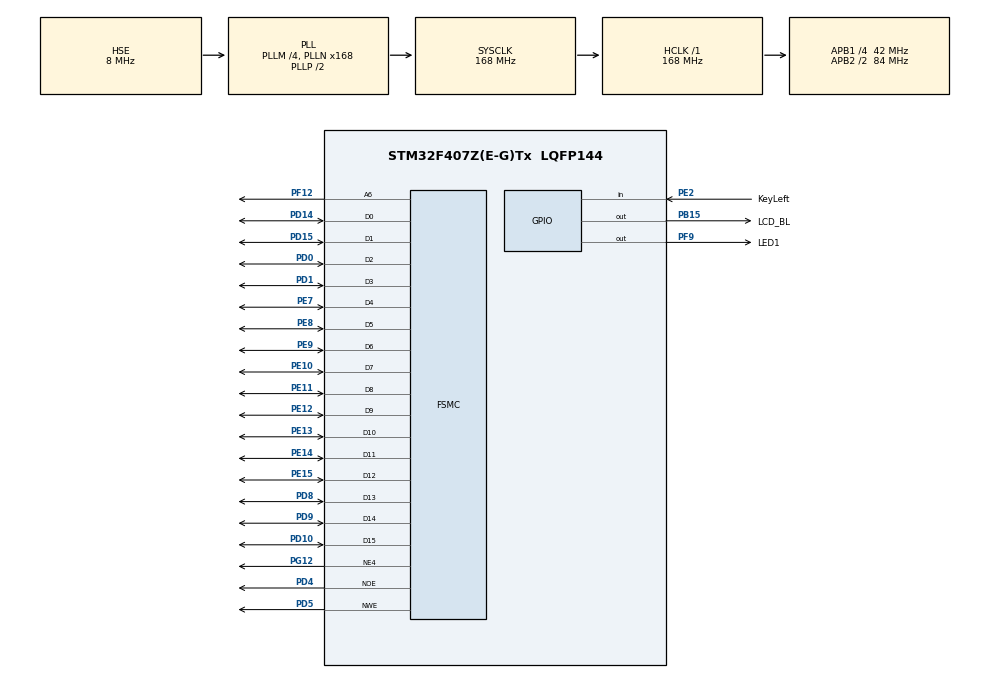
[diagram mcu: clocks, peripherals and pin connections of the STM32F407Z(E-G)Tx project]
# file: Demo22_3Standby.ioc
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FSMC.AddressSetupTime4=2
FSMC.BusTurnAroundDuration4=0
FSMC.DataSetupTime4=16
FSMC.ExtendedAddressSetupTime4=4
FSMC.ExtendedBusTurnAroundDuration4=0
FSMC.ExtendedDataSetupTime4=9
FSMC.ExtendedMode4=FSMC_EXTENDED_MODE_ENABLE
Mcu.Family=STM32F4
Mcu.Name=STM32F407Z(E-G)Tx
Mcu.Package=LQFP144
NVIC.PriorityGroup=NVIC_PRIORITYGROUP_4
PA0-WKUP.Mode=SYS_WakeUp0
PA0-WKUP.Signal=SYS_WKUP
PA13.Mode=Serial_Wire
PA13.Signal=SYS_JTMS-SWDIO
PA14.Mode=Serial_Wire
PA14.Signal=SYS_JTCK-SWCLK
PB15.GPIO_Label=LCD_BL
PB15.PinState=GPIO_PIN_RESET
PB15.Signal=GPIO_Output
PD0.Signal=FSMC_D2_DA2
PD1.Signal=FSMC_D3_DA3
PD10.Signal=FSMC_D15_DA15
PD14.Signal=FSMC_D0_DA0
PD15.Signal=FSMC_D1_DA1
PD4.Signal=FSMC_NOE
PD5.Signal=FSMC_NWE
PD8.Signal=FSMC_D13_DA13
PD9.Signal=FSMC_D14_DA14
PE10.Signal=FSMC_D7_DA7
PE11.Signal=FSMC_D8_DA8
PE12.Signal=FSMC_D9_DA9
PE13.Signal=FSMC_D10_DA10
PE14.Signal=FSMC_D11_DA11
PE15.Signal=FSMC_D12_DA12
PE2.GPIO_Label=KeyLeft
PE2.GPIO_PuPd=GPIO_PULLUP
PE2.Signal=GPIO_Input
PE7.Signal=FSMC_D4_DA4
PE8.Signal=FSMC_D5_DA5
PE9.Signal=FSMC_D6_DA6
PF12.Signal=FSMC_A6
PF9.GPIO_Label=LED1
PF9.PinState=GPIO_PIN_SET
PF9.Signal=GPIO_Output
PG12.Mode=NorPsramChipSelect4_4
PG12.Signal=FSMC_NE4
PH0-OSC_IN.Mode=HSE-External-Oscillator
PH0-OSC_IN.Signal=RCC_OSC_IN
PH1-OSC_OUT.Mode=HSE-External-Oscillator
PH1-OSC_OUT.Signal=RCC_OSC_OUT
ProjectManager.HeapSize=0x200
ProjectManager.StackSize=0x400
ProjectManager.TargetToolchain=STM32CubeIDE
RCC.48MHZClocksFreq_Value=84000000
RCC.AHBFreq_Value=168000000
RCC.APB1CLKDivider=RCC_HCLK_DIV4
RCC.APB1Freq_Value=42000000
RCC.APB1TimFreq_Value=84000000
RCC.APB2CLKDivider=RCC_HCLK_DIV2
RCC.APB2Freq_Value=84000000
RCC.APB2TimFreq_Value=168000000
RCC.CortexFreq_Value=168000000
RCC.FLatency=FLASH_LATENCY_5
RCC.HCLKFreq_Value=168000000
RCC.HSE_VALUE=8000000
RCC.HSI_VALUE=16000000
RCC.LSE_VALUE=32768
RCC.PLLM=4
RCC.PLLN=168
RCC.PLLSourceVirtual=RCC_PLLSOURCE_HSE
RCC.SYSCLKFreq_VALUE=168000000
RCC.SYSCLKSource=RCC_SYSCLKSOURCE_PLLCLK
RCC.VCOOutputFreq_Value=336000000
SH.FSMC_A6.0=FSMC_A6,A6_4
SH.FSMC_D0_DA0.0=FSMC_D0,16b-d4
SH.FSMC_D10_DA10.0=FSMC_D10,16b-d4
SH.FSMC_D11_DA11.0=FSMC_D11,16b-d4
SH.FSMC_D12_DA12.0=FSMC_D12,16b-d4
SH.FSMC_D13_DA13.0=FSMC_D13,16b-d4
SH.FSMC_D14_DA14.0=FSMC_D14,16b-d4
SH.FSMC_D15_DA15.0=FSMC_D15,16b-d4
SH.FSMC_D1_DA1.0=FSMC_D1,16b-d4
SH.FSMC_D2_DA2.0=FSMC_D2,16b-d4
SH.FSMC_D3_DA3.0=FSMC_D3,16b-d4
SH.FSMC_D4_DA4.0=FSMC_D4,16b-d4
SH.FSMC_D5_DA5.0=FSMC_D5,16b-d4
SH.FSMC_D6_DA6.0=FSMC_D6,16b-d4
SH.FSMC_D7_DA7.0=FSMC_D7,16b-d4
SH.FSMC_D8_DA8.0=FSMC_D8,16b-d4
SH.FSMC_D9_DA9.0=FSMC_D9,16b-d4
SH.FSMC_NOE.0=FSMC_NOE,Lcd4
SH.FSMC_NWE.0=FSMC_NWE,Lcd4
board=custom

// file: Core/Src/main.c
/* USER CODE BEGIN Header */
/**
  ******************************************************************************
  * @file           : main.c
  * @brief          : Main program body
  ******************************************************************************
  * @attention
  *
  * Copyright (c) 2023 STMicroelectronics.
  * All rights reserved.
  *
  * This software is licensed under terms that can be found in the LICENSE file
  * in the root directory of this software component.
  * If no LICENSE file comes with this software, it is provided AS-IS.
  *
  ******************************************************************************
  */
/* USER CODE END Header */
#include "main.h"
#include "gpio.h"
#include "fsmc.h"

/* USER CODE BEGIN Includes */
#include <stdio.h>
#include "lcd.h"
#include "keyled.h"
/* USER CODE END Includes */

void SystemClock_Config(void);

int main(void)
{

  /* MCU Configuration--------------------------------------------------------*/

  /* Reset of all peripherals, Initializes the Flash interface and the Systick. */
  HAL_Init();

  /* Configure the system clock */
  SystemClock_Config();

  /* Initialize all configured peripherals */
  MX_GPIO_Init();
  MX_FSMC_Init();
  /* USER CODE BEGIN 2 */
  lcd_init();
  lcd_show_str(10, 10 + 0 * 30, 24, "Demo22_3: Standby Mode", RED);

  if (__HAL_PWR_GET_FLAG(PWR_FLAG_WU) == SET) {
	  lcd_show_str(10, 10 + 1 * 30, 24, "[Msg1] Be woken up by WKUP", RED);
	  __HAL_PWR_CLEAR_FLAG(PWR_FLAG_WU);
  }

  if (__HAL_PWR_GET_FLAG(PWR_FLAG_SB) == SET) {
	  HAL_PWR_DisableWakeUpPin(PWR_WAKEUP_PIN1);
	  lcd_show_str(10, 10 + 2 * 30, 24, "[Msg2] Reset from Standby mode", RED);
	  __HAL_PWR_CLEAR_FLAG(PWR_FLAG_SB);
  }

  lcd_show_str(10, 10 + 3 * 30, 24, "Press KeyLeft to enter Standby", RED);
  LED1_ON();
  /* USER CODE END 2 */

  /* Infinite loop */
  /* USER CODE BEGIN WHILE */
  while (1)
  {
	  if (ScanPressedKey(KEY_WAIT_ALWAYS) == KEY_LEFT) {
		  lcd_show_str(10, 10 + 4 * 30, 24, "Be in Standby mode now", RED);
		  lcd_show_str(10, 10 + 5 * 30, 24, "Press KeyUp to wake up, or", RED);
		  lcd_show_str(10, 10 + 6 * 30, 24, "press Reset to reset system.", RED);
		  HAL_PWR_EnableWakeUpPin(PWR_WAKEUP_PIN1);
		  HAL_PWR_EnterSTANDBYMode();
	  }
    /* USER CODE END WHILE */

  }
}

void SystemClock_Config(void)
{
  RCC_OscInitTypeDef RCC_OscInitStruct = {0};
  RCC_ClkInitTypeDef RCC_ClkInitStruct = {0};

  /** Configure the main internal regulator output voltage
  */
  __HAL_RCC_PWR_CLK_ENABLE();
  __HAL_PWR_VOLTAGESCALING_CONFIG(PWR_REGULATOR_VOLTAGE_SCALE1);

  /** Initializes the RCC Oscillators according to the specified parameters
  * in the RCC_OscInitTypeDef structure.
  */
  RCC_OscInitStruct.OscillatorType = RCC_OSCILLATORTYPE_HSE;
  RCC_OscInitStruct.HSEState = RCC_HSE_ON;
  RCC_OscInitStruct.PLL.PLLState = RCC_PLL_ON;
  RCC_OscInitStruct.PLL.PLLSource = RCC_PLLSOURCE_HSE;
  RCC_OscInitStruct.PLL.PLLM = 4;
  RCC_OscInitStruct.PLL.PLLN = 168;
  RCC_OscInitStruct.PLL.PLLP = RCC_PLLP_DIV2;
  RCC_OscInitStruct.PLL.PLLQ = 4;
  if (HAL_RCC_OscConfig(&RCC_OscInitStruct) != HAL_OK)
  {
    Error_Handler();
  }

  /** Initializes the CPU, AHB and APB buses clocks
  */
  RCC_ClkInitStruct.ClockType = RCC_CLOCKTYPE_HCLK|RCC_CLOCKTYPE_SYSCLK
                              |RCC_CLOCKTYPE_PCLK1|RCC_CLOCKTYPE_PCLK2;
  RCC_ClkInitStruct.SYSCLKSource = RCC_SYSCLKSOURCE_PLLCLK;
  RCC_ClkInitStruct.AHBCLKDivider = RCC_SYSCLK_DIV1;
  RCC_ClkInitStruct.APB1CLKDivider = RCC_HCLK_DIV4;
  RCC_ClkInitStruct.APB2CLKDivider = RCC_HCLK_DIV2;

  if (HAL_RCC_ClockConfig(&RCC_ClkInitStruct, FLASH_LATENCY_5) != HAL_OK)
  {
    Error_Handler();
  }
}

void Error_Handler(void)
{
  __disable_irq();
  while (1)
  {
  }
}
